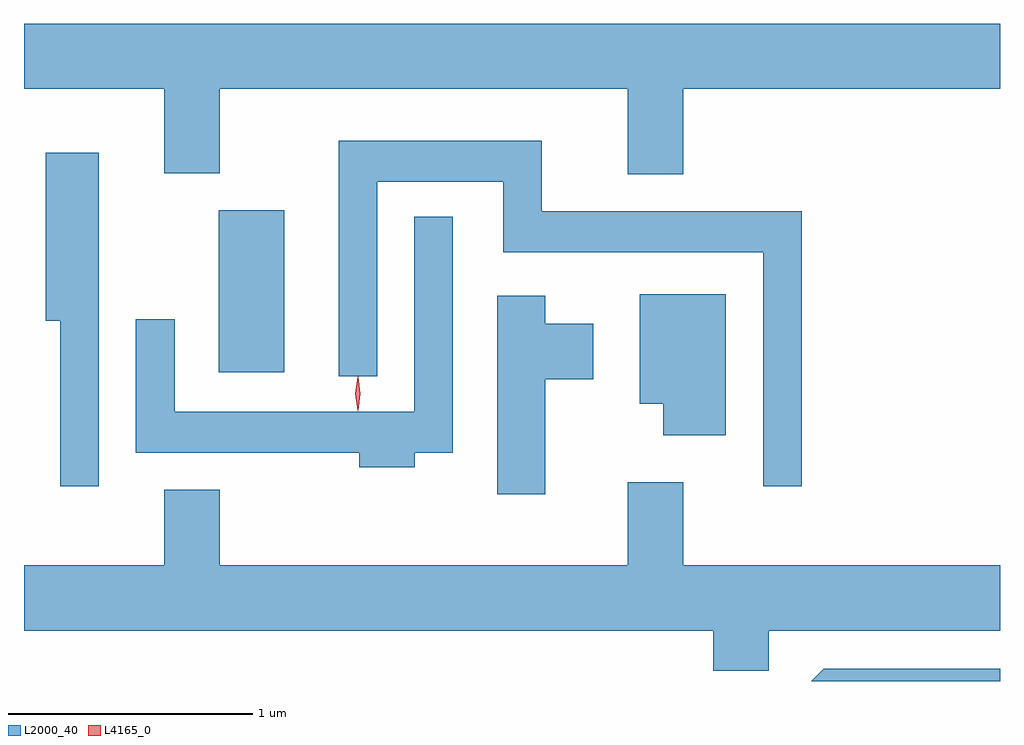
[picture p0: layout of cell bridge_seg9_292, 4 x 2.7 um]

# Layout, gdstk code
import gdstk
lib = gdstk.Library(unit=1e-6, precision=1e-09)
def R(c, l, rs):  # rectangles x0, y0, x1, y1
    for r in rs: c.add(gdstk.rectangle(r[:2], r[2:], *l))
def P(c, l, *ps):  # polygons
    for p in ps: c.add(gdstk.Polygon(p, *l))
L2000_40 = (2000, 40)
L4165_0 = (4165, 0)

bridge_seg9_292 = lib.new_cell('bridge_seg9_292')
R(bridge_seg9_292, L2000_40, [(987.086,2077.236,987.354,2077.899)])
P(bridge_seg9_292, L2000_40, [(988.989,2078.396),(990.287,2078.396),(990.287,2078.664),(986.287,2078.664),(986.287,2078.396),(986.861,2078.396),(986.861,2078.051),(987.089,2078.051),(987.089,2078.396),(988.761,2078.396),(988.761,2078.046),(988.989,2078.046)],
  [(989.474,2077.894),(988.409,2077.894),(988.409,2078.184),(987.576,2078.184),(987.576,2077.218),(987.734,2077.218),(987.734,2078.016),(988.251,2078.016),(988.251,2077.726),(989.316,2077.726),(989.316,2076.768),(989.474,2076.768)],
  [(986.594,2078.134),(986.376,2078.134),(986.376,2077.446),(986.436,2077.446),(986.436,2076.768),(986.594,2076.768)],
  [(987.889,2076.906),(988.044,2076.906),(988.044,2077.873),(987.886,2077.873),(987.886,2077.074),(986.904,2077.074),(986.904,2077.452),(986.746,2077.452),(986.746,2076.906),(987.661,2076.906),(987.661,2076.846),(987.889,2076.846)],
  [(989.164,2077.554),(988.811,2077.554),(988.811,2077.106),(988.906,2077.106),(988.906,2076.976),(989.164,2076.976)],
  [(988.424,2077.206),(988.619,2077.206),(988.619,2077.434),(988.424,2077.434),(988.424,2077.549),(988.226,2077.549),(988.226,2076.736),(988.424,2076.736)],
  [(989.339,2076.176),(990.287,2076.176),(990.287,2076.444),(988.989,2076.444),(988.989,2076.784),(988.761,2076.784),(988.761,2076.444),(987.089,2076.444),(987.089,2076.754),(986.861,2076.754),(986.861,2076.444),(986.287,2076.444),(986.287,2076.176),(989.111,2076.176),(989.111,2076.011),(989.339,2076.011)],
  [(990.287,2076.019),(989.564,2076.019),(989.513,2075.968),(990.287,2075.968)])
P(bridge_seg9_292, L4165_0, [(987.654,2077.077),(987.645,2077.146),(987.654,2077.216),(987.655,2077.216),(987.656,2077.216),(987.665,2077.146),(987.656,2077.077),(987.655,2077.077)],
  [(987.656,2077.079),(987.656,2077.08),(987.646,2077.146),(987.656,2077.212),(987.656,2077.213),(987.656,2077.212),(987.666,2077.146),(987.657,2077.08)])

lib.write_gds('bridge_seg9_292.gds')
